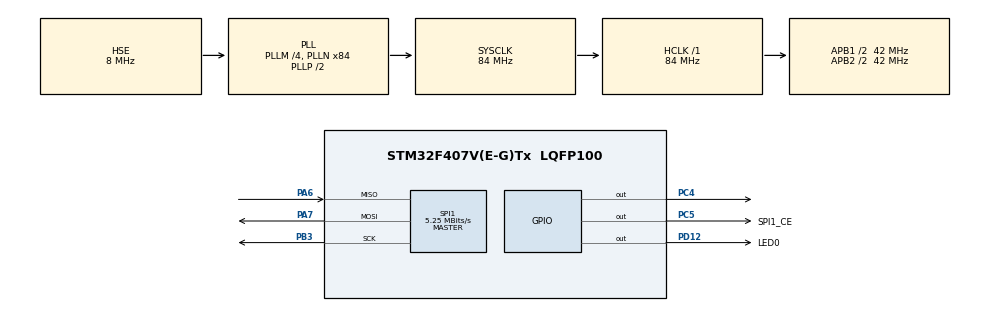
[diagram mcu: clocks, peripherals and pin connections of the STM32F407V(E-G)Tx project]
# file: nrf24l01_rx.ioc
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Mcu.Family=STM32F4
Mcu.Name=STM32F407V(E-G)Tx
Mcu.Package=LQFP100
NVIC.PriorityGroup=NVIC_PRIORITYGROUP_0
PA13.Mode=Serial_Wire
PA13.Signal=SYS_JTMS-SWDIO
PA14.Mode=Serial_Wire
PA14.Signal=SYS_JTCK-SWCLK
PA6.Mode=Full_Duplex_Master
PA6.Signal=SPI1_MISO
PA7.Mode=Full_Duplex_Master
PA7.Signal=SPI1_MOSI
PB3.Mode=Full_Duplex_Master
PB3.Signal=SPI1_SCK
PC4.Signal=GPIO_Output
PC5.GPIO_Label=SPI1_CE
PC5.Signal=GPIO_Output
PD12.GPIO_Label=LED0
PD12.Signal=GPIO_Output
PH0-OSC_IN.Mode=HSE-External-Oscillator
PH0-OSC_IN.Signal=RCC_OSC_IN
PH1-OSC_OUT.Mode=HSE-External-Oscillator
PH1-OSC_OUT.Signal=RCC_OSC_OUT
ProjectManager.HeapSize=0x200
ProjectManager.StackSize=0x400
ProjectManager.TargetToolchain=STM32CubeIDE
RCC.48MHZClocksFreq_Value=24000000
RCC.AHBFreq_Value=84000000
RCC.APB1CLKDivider=RCC_HCLK_DIV2
RCC.APB1Freq_Value=42000000
RCC.APB1TimFreq_Value=84000000
RCC.APB2CLKDivider=RCC_HCLK_DIV2
RCC.APB2Freq_Value=42000000
RCC.APB2TimFreq_Value=84000000
RCC.CortexFreq_Value=84000000
RCC.HCLKFreq_Value=84000000
RCC.HSE_VALUE=8000000
RCC.HSI_VALUE=16000000
RCC.LSE_VALUE=32768
RCC.PLLM=4
RCC.PLLN=84
RCC.PLLQ=7
RCC.PLLSourceVirtual=RCC_PLLSOURCE_HSE
RCC.SYSCLKFreq_VALUE=84000000
RCC.SYSCLKSource=RCC_SYSCLKSOURCE_PLLCLK
RCC.VCOOutputFreq_Value=168000000
SPI1.BaudRatePrescaler=SPI_BAUDRATEPRESCALER_8
SPI1.CalculateBaudRate=5.25 MBits/s
SPI1.Direction=SPI_DIRECTION_2LINES
SPI1.Mode=SPI_MODE_MASTER
SPI1.VirtualType=VM_MASTER
board=STM32F407G-DISC1

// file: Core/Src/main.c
/* USER CODE BEGIN Header */
/**
  ******************************************************************************
  * @file           : main.c
  * @brief          : Main program body
  ******************************************************************************
  * @attention
  *
  * Copyright (c) 2023 STMicroelectronics.
  * All rights reserved.
  *
  * This software is licensed under terms that can be found in the LICENSE file
  * in the root directory of this software component.
  * If no LICENSE file comes with this software, it is provided AS-IS.
  *
  ******************************************************************************
  */
/* USER CODE END Header */
#include "main.h"

/* USER CODE BEGIN Includes */
#include "MY_NRF24.h"
/* USER CODE END Includes */

SPI_HandleTypeDef hspi1;

void SystemClock_Config(void);
static void MX_GPIO_Init(void);
static void MX_SPI1_Init(void);

/* USER CODE BEGIN 0 */
uint64_t RxpipeAddrs = 0x223344AA223344AA;
uint64_t TxpipeAddrs = 0xFE6B2840FE6B2840;
uint8_t myRxData[32];
/* USER CODE END 0 */

int main(void)
{

  /* MCU Configuration--------------------------------------------------------*/

  /* Reset of all peripherals, Initializes the Flash interface and the Systick. */
  HAL_Init();

  /* Configure the system clock */
  SystemClock_Config();

  /* Initialize all configured peripherals */
  MX_GPIO_Init();
  MX_SPI1_Init();
  /* USER CODE BEGIN 2 */

	NRF24_begin(GPIOC, GPIO_PIN_4, GPIO_PIN_5, hspi1);

//	NRF24_setAutoAck(true);
	NRF24_setChannel(52);
	NRF24_setPayloadSize(32);
	NRF24_openWritingPipe(TxpipeAddrs);
	NRF24_openReadingPipe(1, RxpipeAddrs);
//	NRF24_enableDynamicPayloads();
//	NRF24_enableAckPayload();

	NRF24_startListening();

  /* USER CODE END 2 */

  /* Infinite loop */
  while (1)
  {

    /* USER CODE BEGIN 3 */
		if(NRF24_available())
		{
			HAL_GPIO_TogglePin(GPIOD, GPIO_PIN_12);
			NRF24_read(myRxData, 32);
			NRF24_stopListening();
			NRF24_DelayMicroSeconds(150);
			for(int i=0; i<32;i++) myRxData[i] = myRxData[i] + 1;
			NRF24_write(myRxData, 32);
			NRF24_startListening();
			NRF24_DelayMicroSeconds(150);
		}
  }
  /* USER CODE END 3 */
}

void SystemClock_Config(void)
{
  RCC_OscInitTypeDef RCC_OscInitStruct = {0};
  RCC_ClkInitTypeDef RCC_ClkInitStruct = {0};

  /** Configure the main internal regulator output voltage
  */
  __HAL_RCC_PWR_CLK_ENABLE();
  __HAL_PWR_VOLTAGESCALING_CONFIG(PWR_REGULATOR_VOLTAGE_SCALE1);

  /** Initializes the RCC Oscillators according to the specified parameters
  * in the RCC_OscInitTypeDef structure.
  */
  RCC_OscInitStruct.OscillatorType = RCC_OSCILLATORTYPE_HSE;
  RCC_OscInitStruct.HSEState = RCC_HSE_ON;
  RCC_OscInitStruct.PLL.PLLState = RCC_PLL_ON;
  RCC_OscInitStruct.PLL.PLLSource = RCC_PLLSOURCE_HSE;
  RCC_OscInitStruct.PLL.PLLM = 4;
  RCC_OscInitStruct.PLL.PLLN = 84;
  RCC_OscInitStruct.PLL.PLLP = RCC_PLLP_DIV2;
  RCC_OscInitStruct.PLL.PLLQ = 7;
  if (HAL_RCC_OscConfig(&RCC_OscInitStruct) != HAL_OK)
  {
    Error_Handler();
  }

  /** Initializes the CPU, AHB and APB buses clocks
  */
  RCC_ClkInitStruct.ClockType = RCC_CLOCKTYPE_HCLK|RCC_CLOCKTYPE_SYSCLK
                              |RCC_CLOCKTYPE_PCLK1|RCC_CLOCKTYPE_PCLK2;
  RCC_ClkInitStruct.SYSCLKSource = RCC_SYSCLKSOURCE_PLLCLK;
  RCC_ClkInitStruct.AHBCLKDivider = RCC_SYSCLK_DIV1;
  RCC_ClkInitStruct.APB1CLKDivider = RCC_HCLK_DIV2;
  RCC_ClkInitStruct.APB2CLKDivider = RCC_HCLK_DIV2;

  if (HAL_RCC_ClockConfig(&RCC_ClkInitStruct, FLASH_LATENCY_2) != HAL_OK)
  {
    Error_Handler();
  }
}

static void MX_SPI1_Init(void)
{

  /* SPI1 parameter configuration*/
  hspi1.Instance = SPI1;
  hspi1.Init.Mode = SPI_MODE_MASTER;
  hspi1.Init.Direction = SPI_DIRECTION_2LINES;
  hspi1.Init.DataSize = SPI_DATASIZE_8BIT;
  hspi1.Init.CLKPolarity = SPI_POLARITY_LOW;
  hspi1.Init.CLKPhase = SPI_PHASE_1EDGE;
  hspi1.Init.NSS = SPI_NSS_SOFT;
  hspi1.Init.BaudRatePrescaler = SPI_BAUDRATEPRESCALER_8;
  hspi1.Init.FirstBit = SPI_FIRSTBIT_MSB;
  hspi1.Init.TIMode = SPI_TIMODE_DISABLE;
  hspi1.Init.CRCCalculation = SPI_CRCCALCULATION_DISABLE;
  hspi1.Init.CRCPolynomial = 10;
  if (HAL_SPI_Init(&hspi1) != HAL_OK)
  {
    Error_Handler();
  }

}

static void MX_GPIO_Init(void)
{
  GPIO_InitTypeDef GPIO_InitStruct = {0};

  /* GPIO Ports Clock Enable */
  __HAL_RCC_GPIOH_CLK_ENABLE();
  __HAL_RCC_GPIOA_CLK_ENABLE();
  __HAL_RCC_GPIOC_CLK_ENABLE();
  __HAL_RCC_GPIOD_CLK_ENABLE();
  __HAL_RCC_GPIOB_CLK_ENABLE();

  /*Configure GPIO pin Output Level */
  HAL_GPIO_WritePin(GPIOC, GPIO_PIN_4|SPI1_CE_Pin, GPIO_PIN_RESET);

  /*Configure GPIO pin Output Level */
  HAL_GPIO_WritePin(LED0_GPIO_Port, LED0_Pin, GPIO_PIN_RESET);

  /*Configure GPIO pins : PC4 SPI1_CE_Pin */
  GPIO_InitStruct.Pin = GPIO_PIN_4|SPI1_CE_Pin;
  GPIO_InitStruct.Mode = GPIO_MODE_OUTPUT_PP;
  GPIO_InitStruct.Pull = GPIO_NOPULL;
  GPIO_InitStruct.Speed = GPIO_SPEED_FREQ_LOW;
  HAL_GPIO_Init(GPIOC, &GPIO_InitStruct);

  /*Configure GPIO pin : LED0_Pin */
  GPIO_InitStruct.Pin = LED0_Pin;
  GPIO_InitStruct.Mode = GPIO_MODE_OUTPUT_PP;
  GPIO_InitStruct.Pull = GPIO_NOPULL;
  GPIO_InitStruct.Speed = GPIO_SPEED_FREQ_LOW;
  HAL_GPIO_Init(LED0_GPIO_Port, &GPIO_InitStruct);

}

void Error_Handler(void)
{
  __disable_irq();
  while (1)
  {
  }
}
